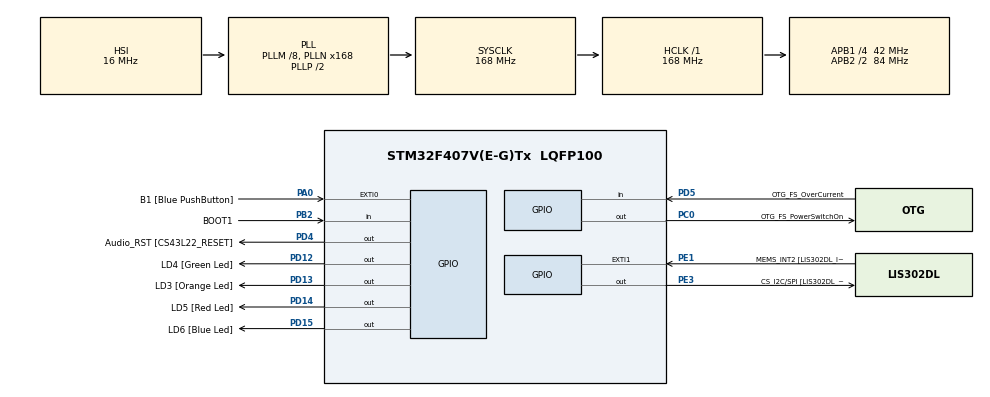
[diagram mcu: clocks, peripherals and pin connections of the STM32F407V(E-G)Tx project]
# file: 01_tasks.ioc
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Mcu.Family=STM32F4
Mcu.Name=STM32F407V(E-G)Tx
Mcu.Package=LQFP100
NVIC.PriorityGroup=NVIC_PRIORITYGROUP_4
NVIC.TIM6_DAC_IRQn=true\:0\:0\:false\:false\:true\:false\:true\:true
NVIC.TimeBase=TIM6_DAC_IRQn
NVIC.TimeBaseIP=TIM6
PA0-WKUP.GPIO_Label=B1 [Blue PushButton]
PA0-WKUP.Signal=GPXTI0
PA10.GPIO_Label=OTG_FS_ID
PA10.GPIO_Mode=GPIO_MODE_AF_PP
PA10.GPIO_PuPd=GPIO_NOPULL
PA10.GPIO_Speed=GPIO_SPEED_FREQ_LOW
PA10.Signal=USB_OTG_FS_ID
PA11.GPIO_Label=OTG_FS_DM
PA11.GPIO_Mode=GPIO_MODE_AF_PP
PA11.GPIO_PuPd=GPIO_NOPULL
PA11.GPIO_Speed=GPIO_SPEED_FREQ_LOW
PA11.Signal=USB_OTG_FS_DM
PA12.GPIO_Label=OTG_FS_DP
PA12.GPIO_Mode=GPIO_MODE_AF_PP
PA12.GPIO_PuPd=GPIO_NOPULL
PA12.GPIO_Speed=GPIO_SPEED_FREQ_LOW
PA12.Signal=USB_OTG_FS_DP
PA13.GPIO_Label=SWDIO
PA13.Signal=SYS_JTMS-SWDIO
PA14.GPIO_Label=SWCLK
PA14.Signal=SYS_JTCK-SWCLK
PA4.GPIO_Label=I2S3_WS [CS43L22_LRCK]
PA4.GPIO_Mode=GPIO_MODE_AF_PP
PA4.GPIO_PuPd=GPIO_NOPULL
PA4.GPIO_Speed=GPIO_SPEED_FREQ_LOW
PA4.Signal=I2S3_WS
PA5.GPIO_Label=SPI1_SCK [LIS302DL_SCL/SPC]
PA5.GPIO_Mode=GPIO_MODE_AF_PP
PA5.GPIO_PuPd=GPIO_NOPULL
PA5.GPIO_Speed=GPIO_SPEED_FREQ_LOW
PA5.Signal=SPI1_SCK
PA6.GPIO_Label=SPI1_MISO [LIS302DL_SDO]
PA6.GPIO_Mode=GPIO_MODE_AF_PP
PA6.GPIO_PuPd=GPIO_NOPULL
PA6.GPIO_Speed=GPIO_SPEED_FREQ_LOW
PA6.Signal=SPI1_MISO
PA7.GPIO_Label=SPI1_MOSI [LIS302DL_SDA/SDI/SDO]
PA7.GPIO_Mode=GPIO_MODE_AF_PP
PA7.GPIO_PuPd=GPIO_NOPULL
PA7.GPIO_Speed=GPIO_SPEED_FREQ_LOW
PA7.Signal=SPI1_MOSI
PA9.GPIO_Label=VBUS_FS
PA9.GPIO_Mode=GPIO_MODE_INPUT
PA9.GPIO_PuPd=GPIO_NOPULL
PA9.Signal=USB_OTG_FS_VBUS
PB10.GPIO_Label=CLK_IN [MP45DT02_CLK]
PB10.GPIO_Mode=GPIO_MODE_AF_PP
PB10.GPIO_PuPd=GPIO_NOPULL
PB10.GPIO_Speed=GPIO_SPEED_FREQ_LOW
PB10.Signal=I2S2_CK
PB2.GPIO_Label=BOOT1
PB2.GPIO_Mode=GPIO_MODE_INPUT
PB2.GPIO_PuPd=GPIO_NOPULL
PB2.Signal=GPIO_Input
PB3.GPIO_Label=SWO
PB3.Signal=SYS_JTDO-SWO
PB6.GPIO_Label=Audio_SCL [CS43L22_SCL]
PB6.GPIO_Mode=GPIO_MODE_AF_OD
PB6.GPIO_PuPd=GPIO_NOPULL
PB6.GPIO_Speed=GPIO_SPEED_FREQ_LOW
PB6.Signal=I2C1_SCL
PB9.GPIO_Label=Audio_SDA [CS43L22_SDA]
PB9.GPIO_Mode=GPIO_MODE_AF_OD
PB9.GPIO_PuPd=GPIO_NOPULL
PB9.GPIO_Speed=GPIO_SPEED_FREQ_LOW
PB9.Signal=I2C1_SDA
PC0.GPIO_Label=OTG_FS_PowerSwitchOn
PC0.GPIO_PuPd=GPIO_NOPULL
PC0.GPIO_Speed=GPIO_SPEED_FREQ_LOW
PC0.PinState=GPIO_PIN_SET
PC0.Signal=GPIO_Output
PC10.GPIO_Label=I2S3_SCK [CS43L22_SCLK]
PC10.GPIO_Mode=GPIO_MODE_AF_PP
PC10.GPIO_PuPd=GPIO_NOPULL
PC10.GPIO_Speed=GPIO_SPEED_FREQ_LOW
PC10.Signal=I2S3_CK
PC12.GPIO_Label=I2S3_SD [CS43L22_SDIN]
PC12.GPIO_Mode=GPIO_MODE_AF_PP
PC12.GPIO_PuPd=GPIO_NOPULL
PC12.GPIO_Speed=GPIO_SPEED_FREQ_LOW
PC12.Signal=I2S3_SD
PC14-OSC32_IN.GPIO_Label=PC14-OSC32_IN
PC14-OSC32_IN.Signal=RCC_OSC32_IN
PC15-OSC32_OUT.GPIO_Label=PC15-OSC32_OUT
PC15-OSC32_OUT.Signal=RCC_OSC32_OUT
PC3.GPIO_Label=PDM_OUT [MP45DT02_DOUT]
PC3.GPIO_Mode=GPIO_MODE_AF_PP
PC3.GPIO_PuPd=GPIO_NOPULL
PC3.GPIO_Speed=GPIO_SPEED_FREQ_LOW
PC3.Signal=I2S2_SD
PC7.GPIO_Label=I2S3_MCK [CS43L22_MCLK]
PC7.GPIO_Mode=GPIO_MODE_AF_PP
PC7.GPIO_PuPd=GPIO_NOPULL
PC7.GPIO_Speed=GPIO_SPEED_FREQ_LOW
PC7.Signal=I2S3_MCK
PD12.GPIO_Label=LD4 [Green Led]
PD12.GPIO_PuPd=GPIO_NOPULL
PD12.GPIO_Speed=GPIO_SPEED_FREQ_LOW
PD12.Signal=GPIO_Output
PD13.GPIO_Label=LD3 [Orange Led]
PD13.GPIO_PuPd=GPIO_NOPULL
PD13.GPIO_Speed=GPIO_SPEED_FREQ_LOW
PD13.Signal=GPIO_Output
PD14.GPIO_Label=LD5 [Red Led]
PD14.GPIO_PuPd=GPIO_NOPULL
PD14.GPIO_Speed=GPIO_SPEED_FREQ_LOW
PD14.Signal=GPIO_Output
PD15.GPIO_Label=LD6 [Blue Led]
PD15.GPIO_PuPd=GPIO_NOPULL
PD15.GPIO_Speed=GPIO_SPEED_FREQ_LOW
PD15.Signal=GPIO_Output
PD4.GPIO_Label=Audio_RST [CS43L22_RESET]
PD4.GPIO_PuPd=GPIO_NOPULL
PD4.GPIO_Speed=GPIO_SPEED_FREQ_LOW
PD4.Signal=GPIO_Output
PD5.GPIO_Label=OTG_FS_OverCurrent
PD5.GPIO_Mode=GPIO_MODE_INPUT
PD5.GPIO_PuPd=GPIO_NOPULL
PD5.Signal=GPIO_Input
PE1.GPIO_Label=MEMS_INT2 [LIS302DL_INT2]
PE1.GPIO_ModeDefaultEXTI=GPIO_MODE_EVT_RISING
PE1.GPIO_PuPd=GPIO_NOPULL
PE1.Signal=GPXTI1
PE3.GPIO_Label=CS_I2C/SPI [LIS302DL_CS_I2C/SPI]
PE3.GPIO_PuPd=GPIO_NOPULL
PE3.GPIO_Speed=GPIO_SPEED_FREQ_LOW
PE3.Signal=GPIO_Output
PH0-OSC_IN.GPIO_Label=PH0-OSC_IN
PH0-OSC_IN.Signal=RCC_OSC_IN
PH1-OSC_OUT.GPIO_Label=PH1-OSC_OUT
PH1-OSC_OUT.Signal=RCC_OSC_OUT
ProjectManager.HeapSize=0x200
ProjectManager.StackSize=0x400
ProjectManager.TargetToolchain=STM32CubeIDE
RCC.48MHZClocksFreq_Value=48000000
RCC.AHBFreq_Value=168000000
RCC.APB1CLKDivider=RCC_HCLK_DIV4
RCC.APB1Freq_Value=42000000
RCC.APB1TimFreq_Value=84000000
RCC.APB2CLKDivider=RCC_HCLK_DIV2
RCC.APB2Freq_Value=84000000
RCC.APB2TimFreq_Value=168000000
RCC.CortexFreq_Value=168000000
RCC.HCLKFreq_Value=168000000
RCC.HSE_VALUE=8000000
RCC.HSI_VALUE=16000000
RCC.LSE_VALUE=32768
RCC.PLLM=8
RCC.PLLN=168
RCC.PLLQ=7
RCC.SYSCLKFreq_VALUE=168000000
RCC.SYSCLKSource=RCC_SYSCLKSOURCE_PLLCLK
RCC.VCOOutputFreq_Value=336000000
VP_SYS_VS_tim6.Mode=TIM6
board=STM32F407G-DISC1

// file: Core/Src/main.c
/* USER CODE BEGIN Header */
/**
  ******************************************************************************
  * @file           : main.c
  * @brief          : Main program body
  ******************************************************************************
  * @attention
  *
  * Copyright (c) 2024 STMicroelectronics.
  * All rights reserved.
  *
  * This software is licensed under terms that can be found in the LICENSE file
  * in the root directory of this software component.
  * If no LICENSE file comes with this software, it is provided AS-IS.
  *
  ******************************************************************************
  */
/* USER CODE END Header */
#include "main.h"

/* USER CODE BEGIN Includes */
#include <stdio.h>
#include "FreeRTOS.h"
#include "task.h"
/* USER CODE END Includes */

/* USER CODE BEGIN PV */
#define DWT_CTRL                        (*(volatile uint32_t*)0xE0001000)
/* USER CODE END PV */

void SystemClock_Config(void);
static void MX_GPIO_Init(void);
/* USER CODE BEGIN PFP */

static void task1_handler(void* parameters);
static void task2_handler(void* parameters);

extern void SEGGER_UART_init(uint32_t);

/* USER CODE END PFP */

int main(void)
{
  /* USER CODE BEGIN 1 */
  TaskHandle_t task1_handle;
  TaskHandle_t task2_handle;

  BaseType_t status;

  /* USER CODE END 1 */

  /* MCU Configuration--------------------------------------------------------*/

  /* Reset of all peripherals, Initializes the Flash interface and the Systick. */
  HAL_Init();

  /* Configure the system clock */
  SystemClock_Config();

  /* Initialize all configured peripherals */
  MX_GPIO_Init();
  /* USER CODE BEGIN 2 */

  SEGGER_UART_init(500000);

  // Enable the CYCCNT counter register - For SystemView timestamp
  // Cortex-M4 Technical Reference Manual page: 91
  DWT_CTRL |= (1 << 0);

  SEGGER_SYSVIEW_Conf();

  // `vInitPrioGroupValue()` Priority grouping init must be done for
  //   below function in `msp.c` otherwise it couldve done by the
  //   scheduler `vTaskStartScheduler()`
//  SEGGER_SYSVIEW_Start();  // its now been called in `Rec/segger_uart.c`

  status = xTaskCreate(task1_handler, "Task-1", 200, "Hello world from Task-1", 2, &task1_handle);
  configASSERT(status == pdPASS);

  status = xTaskCreate(task2_handler, "Task-2", 200, "Hello world from Task-2", 2, &task2_handle);
  configASSERT(status == pdPASS);

  vTaskStartScheduler();

  // Above `vTaskStartScedular` never returns, if it does then the launch of sceduler
  //  has been failed due to insufficient memory in the heap

  /* USER CODE END 2 */

  /* Infinite loop */
  while (1)
  {

  }
}

void SystemClock_Config(void)
{
  RCC_OscInitTypeDef RCC_OscInitStruct = {0};
  RCC_ClkInitTypeDef RCC_ClkInitStruct = {0};

  /** Configure the main internal regulator output voltage
  */
  __HAL_RCC_PWR_CLK_ENABLE();
  __HAL_PWR_VOLTAGESCALING_CONFIG(PWR_REGULATOR_VOLTAGE_SCALE1);

  /** Initializes the RCC Oscillators according to the specified parameters
  * in the RCC_OscInitTypeDef structure.
  */
  RCC_OscInitStruct.OscillatorType = RCC_OSCILLATORTYPE_HSI;
  RCC_OscInitStruct.HSIState = RCC_HSI_ON;
  RCC_OscInitStruct.HSICalibrationValue = RCC_HSICALIBRATION_DEFAULT;
  RCC_OscInitStruct.PLL.PLLState = RCC_PLL_ON;
  RCC_OscInitStruct.PLL.PLLSource = RCC_PLLSOURCE_HSI;
  RCC_OscInitStruct.PLL.PLLM = 8;
  RCC_OscInitStruct.PLL.PLLN = 168;
  RCC_OscInitStruct.PLL.PLLP = RCC_PLLP_DIV2;
  RCC_OscInitStruct.PLL.PLLQ = 7;
  if (HAL_RCC_OscConfig(&RCC_OscInitStruct) != HAL_OK)
  {
    Error_Handler();
  }

  /** Initializes the CPU, AHB and APB buses clocks
  */
  RCC_ClkInitStruct.ClockType = RCC_CLOCKTYPE_HCLK|RCC_CLOCKTYPE_SYSCLK
                              |RCC_CLOCKTYPE_PCLK1|RCC_CLOCKTYPE_PCLK2;
  RCC_ClkInitStruct.SYSCLKSource = RCC_SYSCLKSOURCE_PLLCLK;
  RCC_ClkInitStruct.AHBCLKDivider = RCC_SYSCLK_DIV1;
  RCC_ClkInitStruct.APB1CLKDivider = RCC_HCLK_DIV4;
  RCC_ClkInitStruct.APB2CLKDivider = RCC_HCLK_DIV2;

  if (HAL_RCC_ClockConfig(&RCC_ClkInitStruct, FLASH_LATENCY_5) != HAL_OK)
  {
    Error_Handler();
  }
}

static void MX_GPIO_Init(void)
{
  GPIO_InitTypeDef GPIO_InitStruct = {0};

  /* GPIO Ports Clock Enable */
  __HAL_RCC_GPIOE_CLK_ENABLE();
  __HAL_RCC_GPIOC_CLK_ENABLE();
  __HAL_RCC_GPIOH_CLK_ENABLE();
  __HAL_RCC_GPIOA_CLK_ENABLE();
  __HAL_RCC_GPIOB_CLK_ENABLE();
  __HAL_RCC_GPIOD_CLK_ENABLE();

  /*Configure GPIO pin Output Level */
  HAL_GPIO_WritePin(CS_I2C_SPI_GPIO_Port, CS_I2C_SPI_Pin, GPIO_PIN_RESET);

  /*Configure GPIO pin Output Level */
  HAL_GPIO_WritePin(OTG_FS_PowerSwitchOn_GPIO_Port, OTG_FS_PowerSwitchOn_Pin, GPIO_PIN_SET);

  /*Configure GPIO pin Output Level */
  HAL_GPIO_WritePin(GPIOD, LD4_Pin|LD3_Pin|LD5_Pin|LD6_Pin
                          |Audio_RST_Pin, GPIO_PIN_RESET);

  /*Configure GPIO pin : CS_I2C_SPI_Pin */
  GPIO_InitStruct.Pin = CS_I2C_SPI_Pin;
  GPIO_InitStruct.Mode = GPIO_MODE_OUTPUT_PP;
  GPIO_InitStruct.Pull = GPIO_NOPULL;
  GPIO_InitStruct.Speed = GPIO_SPEED_FREQ_LOW;
  HAL_GPIO_Init(CS_I2C_SPI_GPIO_Port, &GPIO_InitStruct);

  /*Configure GPIO pin : OTG_FS_PowerSwitchOn_Pin */
  GPIO_InitStruct.Pin = OTG_FS_PowerSwitchOn_Pin;
  GPIO_InitStruct.Mode = GPIO_MODE_OUTPUT_PP;
  GPIO_InitStruct.Pull = GPIO_NOPULL;
  GPIO_InitStruct.Speed = GPIO_SPEED_FREQ_LOW;
  HAL_GPIO_Init(OTG_FS_PowerSwitchOn_GPIO_Port, &GPIO_InitStruct);

  /*Configure GPIO pin : PDM_OUT_Pin */
  GPIO_InitStruct.Pin = PDM_OUT_Pin;
  GPIO_InitStruct.Mode = GPIO_MODE_AF_PP;
  GPIO_InitStruct.Pull = GPIO_NOPULL;
  GPIO_InitStruct.Speed = GPIO_SPEED_FREQ_LOW;
  GPIO_InitStruct.Alternate = GPIO_AF5_SPI2;
  HAL_GPIO_Init(PDM_OUT_GPIO_Port, &GPIO_InitStruct);

  /*Configure GPIO pin : B1_Pin */
  GPIO_InitStruct.Pin = B1_Pin;
  GPIO_InitStruct.Mode = GPIO_MODE_IT_RISING;
  GPIO_InitStruct.Pull = GPIO_NOPULL;
  HAL_GPIO_Init(B1_GPIO_Port, &GPIO_InitStruct);

  /*Configure GPIO pin : I2S3_WS_Pin */
  GPIO_InitStruct.Pin = I2S3_WS_Pin;
  GPIO_InitStruct.Mode = GPIO_MODE_AF_PP;
  GPIO_InitStruct.Pull = GPIO_NOPULL;
  GPIO_InitStruct.Speed = GPIO_SPEED_FREQ_LOW;
  GPIO_InitStruct.Alternate = GPIO_AF6_SPI3;
  HAL_GPIO_Init(I2S3_WS_GPIO_Port, &GPIO_InitStruct);

  /*Configure GPIO pins : SPI1_SCK_Pin SPI1_MISO_Pin SPI1_MOSI_Pin */
  GPIO_InitStruct.Pin = SPI1_SCK_Pin|SPI1_MISO_Pin|SPI1_MOSI_Pin;
  GPIO_InitStruct.Mode = GPIO_MODE_AF_PP;
  GPIO_InitStruct.Pull = GPIO_NOPULL;
  GPIO_InitStruct.Speed = GPIO_SPEED_FREQ_LOW;
  GPIO_InitStruct.Alternate = GPIO_AF5_SPI1;
  HAL_GPIO_Init(GPIOA, &GPIO_InitStruct);

  /*Configure GPIO pin : BOOT1_Pin */
  GPIO_InitStruct.Pin = BOOT1_Pin;
  GPIO_InitStruct.Mode = GPIO_MODE_INPUT;
  GPIO_InitStruct.Pull = GPIO_NOPULL;
  HAL_GPIO_Init(BOOT1_GPIO_Port, &GPIO_InitStruct);

  /*Configure GPIO pin : CLK_IN_Pin */
  GPIO_InitStruct.Pin = CLK_IN_Pin;
  GPIO_InitStruct.Mode = GPIO_MODE_AF_PP;
  GPIO_InitStruct.Pull = GPIO_NOPULL;
  GPIO_InitStruct.Speed = GPIO_SPEED_FREQ_LOW;
  GPIO_InitStruct.Alternate = GPIO_AF5_SPI2;
  HAL_GPIO_Init(CLK_IN_GPIO_Port, &GPIO_InitStruct);

  /*Configure GPIO pins : LD4_Pin LD3_Pin LD5_Pin LD6_Pin
                           Audio_RST_Pin */
  GPIO_InitStruct.Pin = LD4_Pin|LD3_Pin|LD5_Pin|LD6_Pin
                          |Audio_RST_Pin;
  GPIO_InitStruct.Mode = GPIO_MODE_OUTPUT_PP;
  GPIO_InitStruct.Pull = GPIO_NOPULL;
  GPIO_InitStruct.Speed = GPIO_SPEED_FREQ_LOW;
  HAL_GPIO_Init(GPIOD, &GPIO_InitStruct);

  /*Configure GPIO pins : I2S3_MCK_Pin I2S3_SCK_Pin I2S3_SD_Pin */
  GPIO_InitStruct.Pin = I2S3_MCK_Pin|I2S3_SCK_Pin|I2S3_SD_Pin;
  GPIO_InitStruct.Mode = GPIO_MODE_AF_PP;
  GPIO_InitStruct.Pull = GPIO_NOPULL;
  GPIO_InitStruct.Speed = GPIO_SPEED_FREQ_LOW;
  GPIO_InitStruct.Alternate = GPIO_AF6_SPI3;
  HAL_GPIO_Init(GPIOC, &GPIO_InitStruct);

  /*Configure GPIO pin : VBUS_FS_Pin */
  GPIO_InitStruct.Pin = VBUS_FS_Pin;
  GPIO_InitStruct.Mode = GPIO_MODE_INPUT;
  GPIO_InitStruct.Pull = GPIO_NOPULL;
  HAL_GPIO_Init(VBUS_FS_GPIO_Port, &GPIO_InitStruct);

  /*Configure GPIO pins : OTG_FS_ID_Pin OTG_FS_DM_Pin OTG_FS_DP_Pin */
  GPIO_InitStruct.Pin = OTG_FS_ID_Pin|OTG_FS_DM_Pin|OTG_FS_DP_Pin;
  GPIO_InitStruct.Mode = GPIO_MODE_AF_PP;
  GPIO_InitStruct.Pull = GPIO_NOPULL;
  GPIO_InitStruct.Speed = GPIO_SPEED_FREQ_LOW;
  GPIO_InitStruct.Alternate = GPIO_AF10_OTG_FS;
  HAL_GPIO_Init(GPIOA, &GPIO_InitStruct);

  /*Configure GPIO pin : OTG_FS_OverCurrent_Pin */
  GPIO_InitStruct.Pin = OTG_FS_OverCurrent_Pin;
  GPIO_InitStruct.Mode = GPIO_MODE_INPUT;
  GPIO_InitStruct.Pull = GPIO_NOPULL;
  HAL_GPIO_Init(OTG_FS_OverCurrent_GPIO_Port, &GPIO_InitStruct);

  /*Configure GPIO pins : Audio_SCL_Pin Audio_SDA_Pin */
  GPIO_InitStruct.Pin = Audio_SCL_Pin|Audio_SDA_Pin;
  GPIO_InitStruct.Mode = GPIO_MODE_AF_OD;
  GPIO_InitStruct.Pull = GPIO_NOPULL;
  GPIO_InitStruct.Speed = GPIO_SPEED_FREQ_LOW;
  GPIO_InitStruct.Alternate = GPIO_AF4_I2C1;
  HAL_GPIO_Init(GPIOB, &GPIO_InitStruct);

  /*Configure GPIO pin : MEMS_INT2_Pin */
  GPIO_InitStruct.Pin = MEMS_INT2_Pin;
  GPIO_InitStruct.Mode = GPIO_MODE_EVT_RISING;
  GPIO_InitStruct.Pull = GPIO_NOPULL;
  HAL_GPIO_Init(MEMS_INT2_GPIO_Port, &GPIO_InitStruct);

}

/* USER CODE BEGIN 4 */
static void task1_handler(void* parameters)
{
  char msg[100];
  while (1)
  {
	// use SEGGER_RTT_Syscalls_GCC.c's `_write()` instead of
	// syscalls.c's `__attribute__((weak)) int _write()` as it is
	// attributed as week
//	printf("%s\n", (char*)parameters);

	// Alternatively use `SEGGER_SYSVIEW_PrintfTarget()` to get the
	// output in SystemView as well (in SystemView's Terminal window)
	snprintf(msg, 100, "%s\n", (char*)parameters);
	SEGGER_SYSVIEW_PrintfTarget(msg);
	taskYIELD();
  }
}

static void task2_handler(void* parameters)
{
//  char msg[100];
  while (1)
  {
	// use SEGGER_RTT_Syscalls_GCC.c's `_write()` instead of
	// syscalls.c's `__attribute__((weak)) int _write()` as it is
	// attributed as week
//	printf("%s\n", (char*)parameters);

	// Alternatively use `SEGGER_SYSVIEW_PrintfTarget()` to get the
	// output in SystemView as well (in SystemView's Terminal window)
	snprintf(msg, 100, "%s\n", (char*)parameters);
	SEGGER_SYSVIEW_PrintfTarget(msg);
	taskYIELD();
  }
}
/* USER CODE END 4 */

void HAL_TIM_PeriodElapsedCallback(TIM_HandleTypeDef *htim)
{
  if (htim->Instance == TIM6) {
    HAL_IncTick();
  }
}

void Error_Handler(void)
{
  __disable_irq();
  while (1)
  {
  }
}
